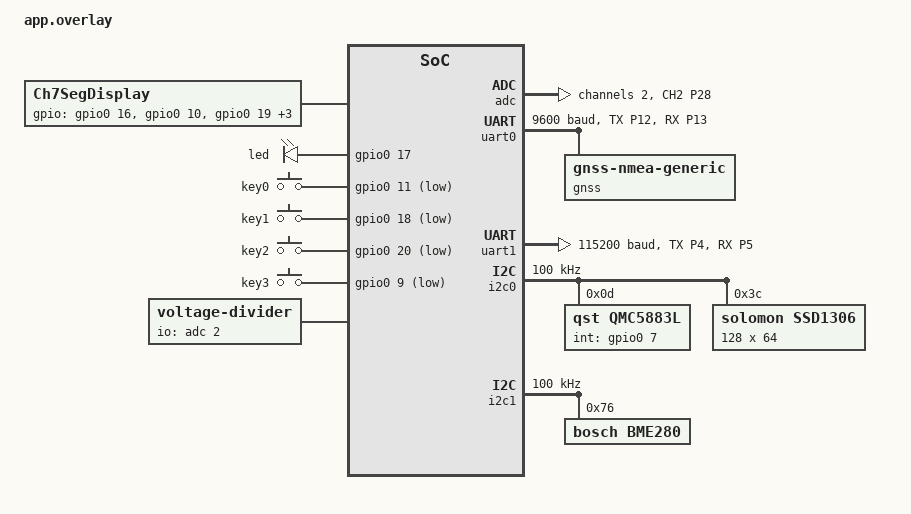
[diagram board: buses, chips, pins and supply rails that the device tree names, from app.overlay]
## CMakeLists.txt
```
cmake_minimum_required(VERSION 3.20.0)

set(OPENOCD "/usr/local/bin/openocd")
set(BOARD rpi_pico2/rp2350a/m33/w)

find_package(Zephyr)
project(project)

target_sources(app PRIVATE 
    src/main.c 
    src/battery.c
    src/altimeter.c
    src/compass.c
    src/keypad.c
    src/gnss.c
    src/display.c
    src/Ch7SegDisplay.c
)
```

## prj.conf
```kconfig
CONFIG_DEBUG_OPTIMIZATIONS=y
CONFIG_HEAP_MEM_POOL_SIZE=4096

CONFIG_FPU=y
CONFIG_LOG=y
CONFIG_EVENTS=y

CONFIG_LOG_BUFFER_SIZE=8192

CONFIG_I2C=y
CONFIG_ADC=y
CONFIG_GPIO=y
CONFIG_SENSOR=y
CONFIG_SERIAL=y

CONFIG_UART_INTERRUPT_DRIVEN=y

CONFIG_GNSS=y
CONFIG_GNSS_SATELLITES=y
CONFIG_GNSS_NMEA0183=y

CONFIG_DISPLAY=y
CONFIG_SSD1306=y
CONFIG_CHARACTER_FRAMEBUFFER=y
CONFIG_CHARACTER_FRAMEBUFFER_USE_DEFAULT_FONTS=y

CONFIG_THREAD_MONITOR=y
CONFIG_THREAD_ANALYZER=y
CONFIG_THREAD_NAME=y
CONFIG_INIT_STACKS=y
CONFIG_THREAD_STACK_INFO=y
CONFIG_SYS_HEAP_RUNTIME_STATS=y

CONFIG_BME280_TEMP_OVER_16X=y
CONFIG_BME280_PRESS_OVER_16X=y
CONFIG_BME280_HUMIDITY_OVER_16X=y
CONFIG_BME280_FILTER_16=y
```

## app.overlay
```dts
/ {
    chosen {
        zephyr,console = &uart1;
		zephyr,shell-uart = &uart1;
    };

    aliases {
        battery-led = &led;
        segment-display = &Ch7SegDisplay;
        battery-adc = &voltage;

        battery-key = &key0;
        left-key = &key1;
        right-key = &key2;
        compass-key = &key3;

        altimeter = &bme280;
        compass = &qmc5883l;
        gnss = &gnss;
        display = &ssd1306;
    };

    Ch7SegDisplay: Ch7SegDisplay {
        compatible = "Ch7SegDisplay";
        gpios = <&gpio0 16 GPIO_ACTIVE_HIGH>,
                <&gpio0 10 GPIO_ACTIVE_HIGH>,
                <&gpio0 19 GPIO_ACTIVE_HIGH>,
                <&gpio0 21 GPIO_ACTIVE_HIGH>,
                <&gpio0 8 GPIO_ACTIVE_HIGH>,
                <&gpio0 22 GPIO_ACTIVE_HIGH>;
    };

    leds: leds {
        compatible = "gpio-leds";

        led: led {
            gpios = <&gpio0 17 GPIO_ACTIVE_HIGH>;
        };
    };

    keys: keys {
        compatible = "gpio-keys";

        key0: key0 {
            gpios = <&gpio0 11 (GPIO_PULL_UP | GPIO_ACTIVE_LOW)>;
        };

        key1: key1 {
            gpios = <&gpio0 18 (GPIO_PULL_UP | GPIO_ACTIVE_LOW)>;
        };

        key2: key2 {
            gpios = <&gpio0 20 (GPIO_PULL_UP | GPIO_ACTIVE_LOW)>;
        };

        key3: key3 {
            gpios = <&gpio0 9 (GPIO_PULL_UP | GPIO_ACTIVE_LOW)>;
        };
    };

    voltage: voltage {
        compatible = "voltage-divider";
        io-channels = <&adc 2>;
        output-ohms = <100>;
        full-ohms = <570>;
    };
};

&pinctrl {
    uart0_pins: uart0_pins {
        group1 {
            pinmux = <UART0_TX_P12>;
        };

        group2 {
            pinmux = <UART0_RX_P13>;
            input-enable;
        };
    };

    uart1_pins: uart1_pins {
        group1 {
            pinmux = <UART1_TX_P4>;
        };

        group2 {
            pinmux = <UART1_RX_P5>;
            input-enable;
        };
    };

    i2c0_pins: i2c0_pins {
        group1 {
            pinmux = <I2C0_SDA_P0>;
            bias-pull-up;
            input-enable;
        };

        group2 {
            pinmux = <I2C0_SCL_P1>;
            bias-pull-up;
            input-enable;
        };
    };

    i2c1_pins: i2c1_pins {
        group1 {
            pinmux = <I2C1_SDA_P26>;
            bias-pull-up;
            input-enable;
        };

        group2 {
            pinmux = <I2C1_SCL_P27>;
            bias-pull-up;
            input-enable;
        };
    };

    adc2_pins: adc2_pins {
        group1 {
            pinmux = <ADC_CH2_P28>;
            bias-disable;
            input-enable;
        };
    };
};

&adc {
    status = "okay";

    pinctrl-0 = <&adc2_pins>;
    pinctrl-names = "default";

    #address-cells = <1>;
    #size-cells = <0>;

    adc2: channel@2 {
        reg = <2>;
        zephyr,gain = "ADC_GAIN_1";
        zephyr,reference = "ADC_REF_INTERNAL";
        zephyr,acquisition-time = <ADC_ACQ_TIME_DEFAULT>;
        zephyr,resolution = <12>;
    };
};

&uart0 {
    status = "okay";
    current-speed = <9600>;

    pinctrl-0 = <&uart0_pins>;
    pinctrl-names = "default";

    gnss: gnss-nmea-generic {
        compatible = "gnss-nmea-generic";
    };
};

&uart1 {
    status = "okay";
    current-speed = <115200>;

    pinctrl-0 = <&uart1_pins>;
    pinctrl-names = "default";
};

&i2c0 {
    status = "okay";
    clock-frequency = <100000>;

    pinctrl-0 = <&i2c0_pins>;
    pinctrl-names = "default";

    qmc5883l: qmc5883l@d { 
        compatible = "qst,qmc5883l";
        reg = <0x0d>;

        int-gpios = <&gpio0 7 GPIO_ACTIVE_HIGH>;
    };

    ssd1306: ssd1306@3c {
        compatible = "solomon,ssd1306";
        reg = <0x3c>;

        width = <128>;
        height = <64>;

        segment-offset = <0>;
        page-offset = <0>;
        display-offset = <0>;
        multiplex-ratio = <63>;
        prechargep = <0x22>;

        segment-remap;
        com-invdir;
    };
};

&i2c1 {
    status = "okay";
    clock-frequency = <100000>;

    pinctrl-0 = <&i2c1_pins>;
    pinctrl-names = "default";

    bme280: bme280@76 {
        compatible = "bosch,bme280";
        reg = <0x76>;
    };
};
```

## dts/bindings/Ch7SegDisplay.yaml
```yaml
description: Charlieplexing 7 Segment Display
compatible: "Ch7SegDisplay"
include: base.yaml

properties:
  gpios:
    type: phandle-array
    required: true
```

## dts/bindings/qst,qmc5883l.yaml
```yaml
description: QST QMC5883L
compatible: "qst,qmc5883l"
include: i2c-device.yaml

properties:
  int-gpios:
    type: phandle-array
    description: DRDY
```

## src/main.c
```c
#include "SystemStats.h"

#if PRINT_STATS == 1
#include <zephyr/kernel.h>

#if LOG_HEAP == 1
extern struct sys_heap _system_heap;

void print_heap(struct k_work *work) {
    struct sys_memory_stats stats;
    if (!sys_heap_runtime_stats_get(&_system_heap, &stats)) {
        printk("Heap: %zu/%zu bytes used (Max: %zu)\n\n", stats.allocated_bytes, stats.free_bytes + stats.allocated_bytes, stats.max_allocated_bytes);
    }
}

K_WORK_DEFINE(print_heap_work, print_heap);

void log_heap(struct k_timer *timer_id) {
    k_work_submit(&print_heap_work);
}

K_TIMER_DEFINE(log_heap_timer, log_heap, NULL);

#endif /* LOG_HEAP */

#if LOG_DEADLINE == 1
extern atomic_t segmentDisplayMissCount;
extern atomic_t altimeterMissCount;

atomic_t segmentDisplayMisses;
atomic_t altimeterMisses;

void print_deadline(struct k_work *work) {
    int64_t segmentDisplayMissesVal = atomic_get(&segmentDisplayMisses);
    int64_t altimeterMissesVal = atomic_get(&altimeterMisses);

    printk("Deadline misses in last 10 seconds: \n");
    printk(" segment display: %lld\n", segmentDisplayMissesVal);
    printk(" altimeter: %lld\n", altimeterMissesVal);
    printk("\n");
}

K_WORK_DEFINE(deadline_work, print_deadline);

void log_deadline(struct k_timer *timer_id) {
    atomic_set(&segmentDisplayMisses, atomic_get(&segmentDisplayMissCount));
    atomic_set(&altimeterMisses, atomic_get(&altimeterMissCount));

    atomic_set(&segmentDisplayMissCount, 0);
    atomic_set(&altimeterMissCount, 0);

    k_work_submit(&deadline_work);
}

K_TIMER_DEFINE(log_deadline_timer, log_deadline, NULL);

#endif /* LOG_DEADLINE */

#if LOG_LATENCY == 1
extern atomic_t segmentDisplayLatencyUs;
extern atomic_t altimeterLatencyUs;

atomic_t segmentDisplayMaxLatencyUs;
atomic_t altimeterMaxLatencyUs;

void print_latency(struct k_work *work) {
    int64_t segmentDisplayMaxLatencyUsVal = atomic_get(&segmentDisplayMaxLatencyUs);
    int64_t altimeterMaxLatencyUsVal = atomic_get(&altimeterMaxLatencyUs);

    printk("Max latency in last 10 seconds: \n");
    printk(" segment display: %lld us\n", segmentDisplayMaxLatencyUsVal);
    printk(" altimeter: %lld us\n", altimeterMaxLatencyUsVal);
    printk("\n");
}

K_WORK_DEFINE(latency_work, print_latency);

void log_latency(struct k_timer *timer_id) {
    atomic_set(&segmentDisplayMaxLatencyUs, atomic_get(&segmentDisplayLatencyUs));
    atomic_set(&altimeterMaxLatencyUs, atomic_get(&altimeterLatencyUs));

    atomic_set(&segmentDisplayLatencyUs, 0);
    atomic_set(&altimeterLatencyUs, 0);

    k_work_submit(&latency_work);
}

K_TIMER_DEFINE(log_latency_timer, log_latency, NULL);

#endif /* LOG_LATENCY */

#if LOG_JITTER == 1
extern atomic_t segmentDisplayJitterUs;
extern atomic_t altimeterJitterUs;

void print_jitter(struct k_work *work) {
    int64_t segmentDisplayJitterUsVal = atomic_get(&segmentDisplayJitterUs);
    int64_t altimeterJitterUsVal = atomic_get(&altimeterJitterUs);

    printk("Jitter: \n");
    printk(" segment display: %lld us\n", segmentDisplayJitterUsVal);
    printk(" altimeter: %lld us\n", altimeterJitterUsVal);
    printk("\n");
}

K_WORK_DEFINE(jitter_work, print_jitter);

void log_jitter(struct k_timer *timer_id) {
    k_work_submit(&jitter_work);
}

K_TIMER_DEFINE(log_jitter_timer, log_jitter, NULL);

#endif /* LOG_JITTER */

#if LOG_MEMORY == 1
#include <zephyr/debug/thread_analyzer.h>

void print_memory(struct k_work *work) {
    thread_analyzer_print(0);
    printk("\n");
}

K_WORK_DEFINE(memory_work, print_memory);

void log_memory(struct k_timer *timer_id) {
    k_work_submit(&memory_work);
}

K_TIMER_DEFINE(log_memory_timer, log_memory, NULL);

#endif /* LOG_MEMORY */

int main(void) {
    printk("Tick Rate: %d Hz\n\n", CONFIG_SYS_CLOCK_TICKS_PER_SEC);

    #if LOG_HEAP == 1
    k_timer_start(&log_heap_timer, K_MINUTES(1), K_MINUTES(1));
    #endif /* LOG_HEAP */

    #if LOG_MEMORY == 1
    k_timer_start(&log_memory_timer, K_MINUTES(1), K_MINUTES(1));
    #endif /* LOG_MEMORY */

    #if LOG_JITTER == 1
    k_timer_start(&log_jitter_timer, K_MINUTES(1), K_MINUTES(1));
    #endif /* LOG_JITTER */

    #if LOG_DEADLINE == 1
    k_timer_start(&log_deadline_timer, K_SECONDS(10), K_SECONDS(10));
    #endif /* LOG_DEADLINE */

    #if LOG_LATENCY == 1
    k_timer_start(&log_latency_timer, K_SECONDS(10), K_SECONDS(10));
    #endif /* LOG_LATENCY */

    return 0;
}

#else /* PRINT_STATS */

int main(void) {
    return 0;
}

#endif /* PRINT_STATS */
```

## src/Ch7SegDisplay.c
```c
#include "Ch7SegDisplay.h"
#include <zephyr/drivers/gpio.h>

#include "SystemStats.h"

static void segmentDisplayTask(void);

K_THREAD_DEFINE(segmentDisplayThread, 1024, segmentDisplayTask, NULL, NULL, NULL, 1, 0, 0);
K_MUTEX_DEFINE(segmentDisplayDataMutex);
K_SEM_DEFINE(segmentDisplaySem, 0, 1);

static volatile bool display = 0;
static volatile uint16_t val = 0;
static volatile uint8_t frm = 0;

int setSegmentDisplayOn(k_timeout_t timeout) {
    int ret = 0;
    if ((ret = k_mutex_lock(&segmentDisplayDataMutex, timeout))) {
        return ret;
    }

    display = 1;
    k_mutex_unlock(&segmentDisplayDataMutex);
    k_sem_give(&segmentDisplaySem);
    return 0;
}

int setSegmentDisplayOff(k_timeout_t timeout) {
    int ret = 0;
    if ((ret = k_mutex_lock(&segmentDisplayDataMutex, timeout))) {
        return ret;
    }

    display = 0;
    k_mutex_unlock(&segmentDisplayDataMutex);
    return 0;
}

int isSegmentDisplayOn(bool *val, k_timeout_t timeout) {
    int ret = 0;
    if ((ret = k_mutex_lock(&segmentDisplayDataMutex, timeout))) {
        return ret;
    }

    *val = display;
    k_mutex_unlock(&segmentDisplayDataMutex);
    return 0;
}

int setSegmentDisplayValue(uint16_t value, k_timeout_t timeout) {
    int ret = 0;
    if ((ret = k_mutex_lock(&segmentDisplayDataMutex, timeout))) {
        return ret;
    }
    
    val = value;
    k_mutex_unlock(&segmentDisplayDataMutex);
    return 0;
}

int setSegmentDisplayFormat(uint8_t format, k_timeout_t timeout) {
    int ret = 0;
    if ((ret = k_mutex_lock(&segmentDisplayDataMutex, timeout))) {
        return ret;
    }

    frm = format;
    k_mutex_unlock(&segmentDisplayDataMutex);
    return 0;
}

static const struct gpio_dt_spec displayPins[] = {
    DT_FOREACH_PROP_ELEM_SEP(DT_ALIAS(segment_display), gpios, GPIO_DT_SPEC_GET_BY_IDX, (,))
};

#define SEGMENT_TIME_US 500
#define SEGMENT_MISS_US 100

#define SEGMENT_NONE 24
#define NR_SEGMENTS 23

#define DIGIT_0_OFFSET 14
#define DIGIT_1_OFFSET 7
#define DIGIT_2_OFFSET 0

#define DOT_0_OFFSET 22
#define DOT_1_OFFSET 21

#define DIGIT_NONE 10

#define DOT_ON 1
#define DOT_OFF 0

static const struct segmentConfig {
    uint8_t high;
    uint8_t low;
} segmentMap[NR_SEGMENTS] = {
    {0, 1}, {0, 2}, {0, 3}, {0, 4}, {0, 5}, {1, 2}, {1, 3},
    {1, 0}, {2, 0}, {3, 0}, {4, 0}, {5, 0}, {1, 4}, {1, 5},
    {2, 1}, {3, 1}, {4, 1}, {5, 1}, {3, 2}, {4, 2}, {5, 2},
    {2, 3}, {2, 4}
};

static const uint8_t digitSegments[11] = {
    0b0111111, // 0
    0b0000110, // 1
    0b1011011, // 2
    0b1001111, // 3
    0b1100110, // 4
    0b1101101, // 5
    0b1111101, // 6
    0b0100111, // 7
    0b1111111, // 8
    0b1101111, // 9
    0b0000000
};

static inline void setSegment(uint8_t segment) {
    for (size_t i = 0; i < ARRAY_SIZE(displayPins); i++) {
        gpio_pin_configure_dt(&displayPins[i], GPIO_DISCONNECTED);
    }

    if (segment > NR_SEGMENTS) {
        return;
    }

    gpio_pin_configure_dt(&displayPins[segmentMap[segment].high], GPIO_OUTPUT_ACTIVE);
    gpio_pin_configure_dt(&displayPins[segmentMap[segment].low], GPIO_OUTPUT_INACTIVE);
}

static inline uint32_t toSegments(uint8_t d2, uint8_t s1, uint8_t d1, uint8_t s0, uint8_t d0) {
    return s0 << DOT_0_OFFSET | s1 << DOT_1_OFFSET | digitSegments[d0] << DIGIT_0_OFFSET | digitSegments[d1] << DIGIT_1_OFFSET | digitSegments[d2] << DIGIT_2_OFFSET;
}

static uint32_t getSegments(k_timeout_t timeout) {
    static uint32_t segments = 0;
    static uint8_t format = 0;
    static uint16_t value = 0;

    if (!k_mutex_lock(&segmentDisplayDataMutex, timeout)) {
        if (!display) {
            k_mutex_unlock(&segmentDisplayDataMutex);
            return 0;
        }

        if (value != val || format != frm) {
            value = val;
            format = frm;
        } else {
            k_mutex_unlock(&segmentDisplayDataMutex);
            return segments;
        }

        k_mutex_unlock(&segmentDisplayDataMutex);

    } else {
        return segments;
    }

    uint8_t d0 = value % 10;
    uint8_t d1 = (value / 10) % 10;
    uint8_t d2 = (value / 100) % 10;

    switch (format & 0b1100) {
        case DISPLAY_DIGIT_ALWAYS_NONE:
            d1 = (d1 || d2) ? d1 : DIGIT_NONE;
            /* no break */

        case DISPLAY_DIGIT_ALWAYS_MIDDLE:
            d2 = d2 ? d2 : DIGIT_NONE;
            /* no break */

        case DISPLAY_DIGIT_ALWAYS_ALL:
            break;
    }

    switch (format & 0b11) {
        case DISPLAY_DOT_NONE:
            segments = toSegments(d2, DOT_OFF, d1, DOT_OFF, d0);
            break;

        case DISPLAY_DOT_RIGHT:
            segments = toSegments(d2, DOT_OFF, d1, DOT_ON, d0);
            break;

        case DISPLAY_DOT_LEFT:
            segments = toSegments(d2, DOT_ON, d1, DOT_OFF, d0);
            break;

        case DISPLAY_DOT_BOTH:
            segments = toSegments(d2, DOT_ON, d1, DOT_ON, d0);
            break;
    }

    return segments;
}

atomic_t segmentDisplayMissCount = ATOMIC_INIT(0);
atomic_t segmentDisplayLatencyUs = ATOMIC_INIT(0);
atomic_t segmentDisplayJitterUs = ATOMIC_INIT(0);

static void segmentDisplayTask(void) {
    k_thread_name_set(segmentDisplayThread, "segmentDisplay");

    for (size_t i = 0; i < ARRAY_SIZE(displayPins); i++) {
        if (gpio_is_ready_dt(&displayPins[i])) {
            gpio_pin_configure_dt(&displayPins[i], GPIO_INPUT); 
        } else {
            printk("Display GPIO %zu not ready!\n", i);
            k_panic();
        }
    }

    int64_t interval = k_us_to_ticks_near64(SEGMENT_TIME_US);
    int64_t next_wake_time = 0;
    uint32_t segments = 0;

    #if PRINT_STATS == 1
    int64_t expected_wake_time = 0;
    uint64_t drift_current_us = 0;
    uint64_t drift_min_us = INT64_MAX;
    uint64_t drift_max_us = 0;
    uint64_t drift_us = 0;
    #endif /* PRINT_STATS */

    while (1) {
        if (!segments) {
            setSegment(SEGMENT_NONE);
            k_sem_take(&segmentDisplaySem, K_FOREVER);
            segments = getSegments(K_FOREVER);
            next_wake_time = k_uptime_ticks() + interval;
        } else {
            for (uint8_t i = 0; i < NR_SEGMENTS; i++) {
                segments = getSegments(K_TIMEOUT_ABS_TICKS(next_wake_time));

                if (segments & BIT(i)) {
                    setSegment(i);
                } else {
                    setSegment(SEGMENT_NONE);
                }

                #if PRINT_STATS == 1
                drift_min_us = MIN(drift_min_us, drift_current_us);
                drift_max_us = MAX(drift_max_us, drift_current_us);
                drift_us = MAX(atomic_get(&segmentDisplayLatencyUs), drift_current_us);

                if (drift_current_us > SEGMENT_MISS_US) {
                    atomic_inc(&segmentDisplayMissCount);
                }

                atomic_set(&segmentDisplayLatencyUs, drift_us);
                atomic_set(&segmentDisplayJitterUs, drift_max_us - drift_min_us);

                expected_wake_time = next_wake_time;

                #endif /* PRINT_STATS */

                k_sleep(K_TIMEOUT_ABS_TICKS(next_wake_time));

                #if PRINT_STATS == 1
                drift_current_us = k_ticks_to_us_near64(k_uptime_ticks() - expected_wake_time);
                #endif /* PRINT_STATS */
                
                next_wake_time += interval;
            }
        } 
    }
}
```

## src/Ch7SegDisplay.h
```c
#ifndef CH7SEGDISPLAY_H
#define CH7SEGDISPLAY_H

#include <zephyr/kernel.h>

#define DISPLAY_FORMAT_NONE 0b0000

#define DISPLAY_DOT_NONE  0b0000
#define DISPLAY_DOT_RIGHT 0b0001
#define DISPLAY_DOT_LEFT  0b0010
#define DISPLAY_DOT_BOTH  0b0011

#define DISPLAY_DIGIT_ALWAYS_NONE 0b0000
#define DISPLAY_DIGIT_ALWAYS_MIDDLE 0b0100
#define DISPLAY_DIGIT_ALWAYS_ALL 0b1000


int setSegmentDisplayOn(k_timeout_t timeout);
int setSegmentDisplayOff(k_timeout_t timeout);
int isSegmentDisplayOn(bool *val, k_timeout_t timeout);
int setSegmentDisplayValue(uint16_t value, k_timeout_t timeout);
int setSegmentDisplayFormat(uint8_t format, k_timeout_t timeout);

#endif /* CH7SEGDISPLAY_H */
```

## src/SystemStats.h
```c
#ifndef SYSTEMSTATS_H
#define SYSTEMSTATS_H

#define PRINT_STATS 1

#define LOG_HEAP 1
#define LOG_MEMORY 1
#define LOG_DEADLINE 1
#define LOG_JITTER 1
#define LOG_LATENCY 1

#define PRINT_CALIBRATION_VALUES 0

#endif /* SYSTEMSTATS_H */
```

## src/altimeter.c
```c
#include <zephyr/drivers/sensor.h>
#include <math.h>
#include "altimeter.h"

#include "SystemStats.h"

static void altimeterTask(void);

#define ALTIMETER_UPDATE_INTERVAL K_MSEC(200)
#define ALTIMETER_MISS_US 100

K_THREAD_DEFINE(altimeterThread, 1024, altimeterTask, NULL, NULL, NULL, 7, 0, 0);
K_MUTEX_DEFINE(returnAltimeterMutex);

static altimeter_data_t returnData;

static struct sensor_value tempOffset = {
    .val1 = -2,
    .val2 = -500000,
};

int altimeterGetData(altimeter_data_t *data, k_timeout_t timeout) {
    int ret = 0;
    if ((ret = k_mutex_lock(&returnAltimeterMutex, timeout))) {
        return ret;
    }

    *data = returnData;

    k_mutex_unlock(&returnAltimeterMutex);
    return 0;
}

static inline void calculateAltitude(const struct sensor_value *pressure, struct sensor_value *altitude) {
    float pressure_kPa = pressure->val1 + pressure->val2 / 1000000.0f;
    float seaLevelPressure_kPa = 101.325f;

    float altitude_m = 44330.0 * (1.0 - pow(pressure_kPa / seaLevelPressure_kPa, 1.0f / 5.255f));

    altitude->val1 = (int32_t)altitude_m;
    altitude->val2 = (int32_t)((altitude_m - altitude->val1) * 1000000);
}

static inline void adjustAltitude(const struct sensor_value *altitude, const struct sensor_value *temp, struct sensor_value *adjustedAltitude) {
    float temp_C = temp->val1 + temp->val2 / 1000000.0f;
    float altitude_m = altitude->val1 + altitude->val2 / 1000000.0f;

    altitude_m *= (temp_C + 273.15f) / 288.15f;

    adjustedAltitude->val1 = (int32_t)altitude_m;
    adjustedAltitude->val2 = (int32_t)((altitude_m - adjustedAltitude->val1) * 1000000);
}

static inline void calculateAbsoluteHumidity(const struct sensor_value *temp, const struct sensor_value *humidity, struct sensor_value *absHumidity) {
    float temp_C = temp->val1 + temp->val2 / 1000000.0f;
    float humidity_pct = humidity->val1 + humidity->val2 / 1000000.0f;

    float abs_hum_g_m3 = (13.2447f * expf((17.67f * temp_C) / (temp_C + 243.5f)) * humidity_pct) / (temp_C + 273.15f);

    absHumidity->val1 = (int32_t)abs_hum_g_m3;
    absHumidity->val2 = (int32_t)((abs_hum_g_m3 - absHumidity->val1) * 1000000.0f);
}

atomic_t altimeterMissCount = ATOMIC_INIT(0);
atomic_t altimeterLatencyUs = ATOMIC_INIT(0);
atomic_t altimeterJitterUs = ATOMIC_INIT(0);

static void altimeterTask(void) {
    k_thread_name_set(altimeterThread, "altimeter");

    const struct device *altimeter = DEVICE_DT_GET(DT_ALIAS(altimeter));

    if (!device_is_ready(altimeter)) {
        printk("Altimeter not ready!\n");
        k_panic();
    }

    int64_t interval = ALTIMETER_UPDATE_INTERVAL.ticks;
    int64_t next_wake_time = 0;

    #if PRINT_STATS == 1
    int64_t expected_wake_time = 0;
    uint64_t drift_current_us = 0;
    uint64_t drift_min_us = INT64_MAX;
    uint64_t drift_max_us = 0;
    uint64_t drift_us = 0;
    #endif /* PRINT_STATS */

    struct sensor_value pressure;
    struct sensor_value temp;
    struct sensor_value humidity;
    struct sensor_value absHumidity;
    struct sensor_value altitude;
    struct sensor_value adjAltitude;

    next_wake_time = k_uptime_ticks() + interval;

    while (1) {
        if (sensor_sample_fetch(altimeter) == 0) {
            sensor_channel_get(altimeter, SENSOR_CHAN_PRESS, &pressure);
            sensor_channel_get(altimeter, SENSOR_CHAN_AMBIENT_TEMP, &temp);
            sensor_channel_get(altimeter, SENSOR_CHAN_HUMIDITY, &humidity);

            temp.val1 += tempOffset.val1;
            temp.val2 += tempOffset.val2;
            
            calculateAltitude(&pressure, &altitude);
            adjustAltitude(&altitude, &temp, &adjAltitude);
            calculateAbsoluteHumidity(&temp, &humidity, &absHumidity);

            altimeter_data_t newReturnData = {
                .altitude = altitude.val1,
                .adjAltitude = adjAltitude.val1,
                .environment = {
                    .pressure = (pressure.val1 + (pressure.val2 / 1000000.0f)) * 1000.0f,
                    .temperature = temp.val1 + (temp.val2 / 1000000.0f),
                    .humidity = humidity.val1 + (humidity.val2 / 1000000.0f),
                    .absHumidity = absHumidity.val1 + (absHumidity.val2 / 1000000.0f),
                },
            };

            if (k_mutex_lock(&returnAltimeterMutex, K_TIMEOUT_ABS_TICKS(next_wake_time)) == 0) {
                returnData = newReturnData;
                k_mutex_unlock(&returnAltimeterMutex);
            }
        }

        #if PRINT_STATS == 1
        drift_min_us = MIN(drift_min_us, drift_current_us);
        drift_max_us = MAX(drift_max_us, drift_current_us);
        drift_us = MAX(atomic_get(&altimeterLatencyUs), drift_current_us);

        if (drift_current_us > ALTIMETER_MISS_US) {
            atomic_inc(&altimeterMissCount);
        }

        atomic_set(&altimeterLatencyUs, drift_us);
        atomic_set(&altimeterJitterUs, drift_max_us - drift_min_us);

        expected_wake_time = next_wake_time;

        #endif /* PRINT_STATS */

        k_sleep(K_TIMEOUT_ABS_TICKS(next_wake_time));

        #if PRINT_STATS == 1
        drift_current_us = k_ticks_to_us_near64(k_uptime_ticks() - expected_wake_time);
        #endif /* PRINT_STATS */

        next_wake_time += interval;
    }
}
```

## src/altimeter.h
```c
#ifndef ALTIMETER_H
#define ALTIMETER_H

#include <zephyr/kernel.h>
#include "data.h"

int altimeterGetData(altimeter_data_t *data, k_timeout_t timeout);

#endif /* ALTIMETER_H */
```

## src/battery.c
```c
#include <zephyr/kernel.h>
#include <zephyr/drivers/gpio.h>
#include <zephyr/drivers/sensor.h>
#include <zephyr/init.h>
#include <errno.h>
#include "keypad.h"
#include "Ch7SegDisplay.h"

static void batteryTask(void);

K_THREAD_DEFINE(batteryThread, 1024, batteryTask, NULL, NULL, NULL, 10, 0, 0);

/* Ni-Mh battery HF9 (min 7.0 V) */
#define LOW_BATTERY_THRESHOLD_VOLTS_1 8
#define LOW_BATTERY_THRESHOLD_VOLTS_2 0

#define BATTERY_UPDATE_INTERVAL K_SECONDS(1)

static void batteryTask(void) {
    k_thread_name_set(batteryThread, "battery");

    const struct gpio_dt_spec batteryLed = GPIO_DT_SPEC_GET(DT_ALIAS(battery_led), gpios);
    const struct device *batteryADC = DEVICE_DT_GET(DT_ALIAS(battery_adc));

    if (!gpio_is_ready_dt(&batteryLed)) {
        printk("Battery LED GPIO not ready!\n");
        k_panic();
    }

    if (!device_is_ready(batteryADC)) {
        printk("Battery ADC not ready!\n");
        k_panic();
    }

    gpio_pin_configure_dt(&batteryLed, GPIO_OUTPUT_INACTIVE);

    struct sensor_value voltage;

    bool printValues = false;
    bool displayOn = false;

    while (1) {
        if (sensor_sample_fetch(batteryADC) == 0) {
            sensor_channel_get(batteryADC, SENSOR_CHAN_VOLTAGE, &voltage);

            if (voltage.val1 < LOW_BATTERY_THRESHOLD_VOLTS_1 || (voltage.val1 == LOW_BATTERY_THRESHOLD_VOLTS_1 && voltage.val2 <= LOW_BATTERY_THRESHOLD_VOLTS_2)) {
                gpio_pin_set_dt(&batteryLed, 1);
            } else {
                gpio_pin_set_dt(&batteryLed, 0);
            }
        }

        uint32_t events = k_event_wait(&batteryKeyEvent, (KEY_EVT_BATTERY_ON | KEY_EVT_BATTERY_OFF), false, BATTERY_UPDATE_INTERVAL);
        k_event_set(&batteryKeyEvent, 0);

        // Check if display is used by a different task
        isSegmentDisplayOn(&displayOn, K_FOREVER);
        if (!printValues && displayOn) {
            continue;
        }

        if (events & KEY_EVT_BATTERY_OFF) {
            setSegmentDisplayValue(0, K_FOREVER);
            setSegmentDisplayFormat(0, K_FOREVER);
            setSegmentDisplayOff(K_FOREVER);
            printValues = false;
        } else if (events & KEY_EVT_BATTERY_ON) {
            setSegmentDisplayFormat(DISPLAY_DIGIT_ALWAYS_MIDDLE | DISPLAY_DOT_RIGHT, K_FOREVER);
            setSegmentDisplayOn(K_FOREVER);
            printValues = true;
        }

        if (printValues) {
            setSegmentDisplayValue(voltage.val1 % 100 * 10 + voltage.val2 / 100000, K_FOREVER);
        }
    }
}
```

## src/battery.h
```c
#ifndef BATTERY_H
#define BATTERY_H



#endif /* BATTERY_H */
```

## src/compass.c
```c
#include <zephyr/kernel.h>
#include <zephyr/drivers/gpio.h>
#include <zephyr/drivers/i2c.h>
#include <math.h>
#include "keypad.h"
#include "Ch7SegDisplay.h"
#include "SystemStats.h"

static void compassTask(void);
static void qmc5883lTask(void);

#define CALIBRATION_SECONDS 30
#define RESET_SECONDS 5

K_THREAD_DEFINE(compassThread, 1024, compassTask, NULL, NULL, NULL, 7, 0, 0);
K_THREAD_DEFINE(qmc5883lThread, 1024, qmc5883lTask, NULL, NULL, NULL, 7, 0, 0);
K_SEM_DEFINE(qmc5883lSem, 0, 1);
K_SEM_DEFINE(qmc5883lCalibrate, 0, 1);
K_SEM_DEFINE(qmc5883lCalibrateReset, 0, 1);
K_SEM_DEFINE(qmc5883lCalibrateCancel, 0, 1);

#define COMPASS_UPDATE_INTERVAL K_MSEC(250)

static atomic_t whole_heading = ATOMIC_INIT(0);

static struct {
    struct {
        float x, y;
    } offset, scale;
} calibration, calibrationDefault = {
    .offset = {201.5f, -946.5f},
    .scale = {1.01f, 0.99f}
};

static void compassTask(void) {
    k_thread_name_set(compassThread, "compass");

    bool displayOn = false;

    while (1) {
        uint32_t events = k_event_wait(&compassKeyEvent, (KEY_EVT_COMPASS | KEY_EVT_COMPASS_CALIBRATE | KEY_EVT_COMPASS_RESET_START), false, K_FOREVER);
        k_event_set(&compassKeyEvent, 0);

        // Check if display is used by a different task
        isSegmentDisplayOn(&displayOn, K_FOREVER);
        if (displayOn) {
            continue;
        }

        if (events & KEY_EVT_COMPASS) {
            setSegmentDisplayFormat(DISPLAY_DIGIT_ALWAYS_ALL, K_FOREVER);
            setSegmentDisplayOn(K_FOREVER);

            while (1) {
                setSegmentDisplayValue(atomic_get(&whole_heading), K_FOREVER);

                uint32_t event_end = k_event_wait(&compassKeyEvent, (KEY_EVT_COMPASS), false, COMPASS_UPDATE_INTERVAL);
                k_event_set(&compassKeyEvent, 0);
                if (event_end & KEY_EVT_COMPASS) {
                    break;
                }
            }

            setSegmentDisplayValue(0, K_FOREVER);
            setSegmentDisplayFormat(0, K_FOREVER);
            setSegmentDisplayOff(K_FOREVER);
        } else if (events & KEY_EVT_COMPASS_CALIBRATE) {
            k_sem_give(&qmc5883lCalibrate);
            setSegmentDisplayFormat(DISPLAY_FORMAT_NONE, K_FOREVER);
            setSegmentDisplayOn(K_FOREVER);

            uint16_t i;
            for (i = CALIBRATION_SECONDS; i > 0; i--) {
                setSegmentDisplayValue(i, K_FOREVER);
                uint32_t event_end = k_event_wait(&compassKeyEvent, (KEY_EVT_COMPASS_CALIBRATE), false, K_SECONDS(1));
                k_event_set(&compassKeyEvent, 0);
                if (event_end & KEY_EVT_COMPASS_CALIBRATE) {
                    k_sem_give(&qmc5883lCalibrateCancel);
                    break;
                }
            }

            if (i == 0) {
                k_sem_give(&qmc5883lCalibrate);
            }

            setSegmentDisplayValue(0, K_FOREVER);
            setSegmentDisplayFormat(0, K_FOREVER);
            setSegmentDisplayOff(K_FOREVER);

        } else if (events & KEY_EVT_COMPASS_RESET_START) {
            setSegmentDisplayFormat(DISPLAY_FORMAT_NONE, K_FOREVER);
            setSegmentDisplayOn(K_FOREVER);

            uint16_t i;
            for (i = RESET_SECONDS; i > 0; i--) {
                setSegmentDisplayValue(i, K_FOREVER);
                uint32_t event_end = k_event_wait(&compassKeyEvent, (KEY_EVT_COMPASS_RESET_STOP), false, K_SECONDS(1));
                k_event_set(&compassKeyEvent, 0);
                if (event_end & KEY_EVT_COMPASS_RESET_STOP) {
                    break;
                }
            }

            if (i == 0) {
                setSegmentDisplayFormat(DISPLAY_DIGIT_ALWAYS_ALL, K_FOREVER);
                setSegmentDisplayValue(0, K_FOREVER);

                uint32_t event_end = k_event_wait(&compassKeyEvent, (KEY_EVT_COMPASS_RESET_STOP), false, K_FOREVER);
                k_event_set(&compassKeyEvent, 0);
                if (event_end & KEY_EVT_COMPASS_RESET_STOP) {
                    k_sem_give(&qmc5883lCalibrateReset);
                }
            }

            setSegmentDisplayValue(0, K_FOREVER);
            setSegmentDisplayFormat(0, K_FOREVER);
            setSegmentDisplayOff(K_FOREVER);
        }
    }
}

static struct gpio_callback interruptPinCbData;

void interruptPinCallback(const struct device *dev, struct gpio_callback *cb, uint32_t pins) {
    k_sem_give(&qmc5883lSem);
}

static void qmc5883lTask(void) {
    k_thread_name_set(qmc5883lThread, "qmc5883l");

    const struct gpio_dt_spec interruptPin = GPIO_DT_SPEC_GET(DT_ALIAS(compass), int_gpios);
    const struct i2c_dt_spec qmc5883l = I2C_DT_SPEC_GET(DT_ALIAS(compass));

    if (!gpio_is_ready_dt(&interruptPin)) {
        printk("Interrupt GPIO not ready!\n");
        k_panic();
    }

    if (!i2c_is_ready_dt(&qmc5883l)) {
        printk("QMC5883L I2C not ready!\n");
        k_panic();
    }

    gpio_pin_configure_dt(&interruptPin, GPIO_INPUT);
    gpio_pin_interrupt_configure_dt(&interruptPin, GPIO_INT_EDGE_TO_ACTIVE);
    gpio_init_callback(&interruptPinCbData, interruptPinCallback, BIT(interruptPin.pin));
    gpio_add_callback(interruptPin.port, &interruptPinCbData);

    i2c_reg_write_byte_dt(&qmc5883l, 0x0a, 0x80);
    i2c_reg_write_byte_dt(&qmc5883l, 0x0b, 0x01);
    i2c_reg_write_byte_dt(&qmc5883l, 0x09, 0x01);

    uint8_t buffer[6];

    calibration = calibrationDefault;

    while (1) {
        if (k_sem_take(&qmc5883lCalibrateReset, K_NO_WAIT) == 0) {
            #if PRINT_CALIBRATION_VALUES == 1
            printk("Old calibration: offset=(%f, %f) scale=(%f, %f)\n", (double)calibration.offset.x, (double)calibration.offset.y, (double)calibration.scale.x, (double)calibration.scale.y);
            #endif
            calibration = calibrationDefault;
        }

        if (k_sem_take(&qmc5883lCalibrate, K_NO_WAIT) == 0) {
            int16_t min_x = 32767, max_x = -32768;
            int16_t min_y = 32767, max_y = -32768;
            
            bool calibrate;

            while (true) {
                k_sem_take(&qmc5883lSem, K_FOREVER);
                
                if (i2c_burst_read_dt(&qmc5883l, 0x00, buffer, 6) == 0) {
                    int16_t temp_x = (int16_t)((uint16_t)buffer[0] | ((uint16_t)buffer[1] << 8));
                    int16_t temp_y = (int16_t)((uint16_t)buffer[2] | ((uint16_t)buffer[3] << 8));

                    if (temp_x < min_x) {
                        min_x = temp_x;
                    }

                    if (temp_x > max_x) {
                        max_x = temp_x;
                    }

                    if (temp_y < min_y) {
                        min_y = temp_y;
                    }

                    if (temp_y > max_y) {
                        max_y = temp_y;
                    }
                }

                if (k_sem_take(&qmc5883lCalibrate, K_NO_WAIT) == 0) {
                    calibrate = true;
                    break;
                }

                if (k_sem_take(&qmc5883lCalibrateCancel, K_NO_WAIT) == 0) {
                    calibrate = false;
                    break;
                }
            }

            if (calibrate) {
                calibration.offset.x = (max_x + min_x) / 2.0f;
                calibration.offset.y = (max_y + min_y) / 2.0f;
                
                float xDelta = (max_x - min_x) / 2.0f;
                float yDelta = (max_y - min_y) / 2.0f;
                float avgDelta = (xDelta + yDelta) / 2.0f;
                
                if (xDelta != 0) {
                    calibration.scale.x = avgDelta / xDelta;
                }

                if (yDelta != 0) {
                    calibration.scale.y = avgDelta / yDelta;
                }
            }
        }

        k_sem_take(&qmc5883lSem, K_FOREVER);
        if (i2c_burst_read_dt(&qmc5883l, 0x00, buffer, 6) == 0) {
            int16_t x = (int16_t)((uint16_t)buffer[0] | ((uint16_t)buffer[1] << 8));
            int16_t y = (int16_t)((uint16_t)buffer[2] | ((uint16_t)buffer[3] << 8));

            float xCalibrated = ((float)x - calibration.offset.x) * calibration.scale.x;
            float yCalibrated = ((float)y - calibration.offset.y) * calibration.scale.y;

            // Y Axis N, X Axis E, Z Axis UP
            float heading_rad = atan2f(-xCalibrated, yCalibrated);
            float heading_deg = heading_rad * (180.0f / 3.14159265f);

            if (heading_deg < 0.0f) {
                heading_deg += 360.0f;
            }

            atomic_set(&whole_heading, (int)heading_deg);
        }
    }
}
```

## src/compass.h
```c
#ifndef COMPASS_H
#define COMPASS_H



#endif /* COMPASS_H */
```

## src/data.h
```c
#ifndef DATA_H
#define DATA_H

#include <stdint.h>

typedef struct {
    uint8_t hour;
    uint8_t minute;
    uint8_t second;
} time_t; // UTC

typedef struct {
    uint8_t day;
    uint8_t month;
    uint8_t year; // last two digits of the year
} date_t;

typedef struct {
    time_t time;
    date_t date;
} datetime_t;

typedef struct {
    float latitude;
    float longitude;
} position_t; // º

typedef int32_t altitude_t;

typedef struct {
    float temperature; // ºC
    float pressure; // Pa
    float humidity; // %
    float absHumidity; // g/m³
} environment_t;

typedef uint16_t heading_t; // º

typedef float speed_t; // m/s

typedef float battery_t; // V

typedef struct {
    char quality[10]; 
    char fixStatus[10]; 
    uint8_t satellites;
} gnss_t;

typedef struct {
    datetime_t datetime;
    position_t position;
    altitude_t altitude;
    heading_t heading;
    speed_t speed;
    gnss_t gnss;
} gnss_data_t;

typedef struct {
    altitude_t altitude;
    altitude_t adjAltitude;
    environment_t environment;
} altimeter_data_t;

#endif /* DATA_H */
```

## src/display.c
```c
#include <zephyr/kernel.h>
#include <zephyr/device.h>
#include <zephyr/drivers/display.h>
#include <zephyr/display/cfb.h>
#include <stdio.h>
#include "keypad.h"
#include "data.h"

#include "gnss.h"
#include "altimeter.h"

static void displayTask(void);

#define DISPLAY_UPDATE_INTERVAL K_MSEC(100)

K_THREAD_DEFINE(displayThread, 1024, displayTask, NULL, NULL, NULL, 5, 0, 0);

struct page {
    char title[13];
    void (*action)(struct page *page);
    void (*render)(struct page *page);
    uint8_t state;
};

void renderTimePage(struct page *page);
void renderDatePage(struct page *page);
void renderPositionPage(struct page *page);
void renderAltitudePage(struct page *page);
void renderEnvironmentPage(struct page *page);
void renderDirectionPage(struct page *page);
void renderGnssPage(struct page *page);

void actionPageTogState(struct page *page);
void actionPageIncState(struct page *page);

struct page pages[7] = {
    {
        .title = "Time UTC",
        .render = renderTimePage,
    }, {
        .title = "Date",
        .render = renderDatePage,
    }, {
        .title = "Position",
        .render = renderPositionPage,
        .action = actionPageIncState,
    }, {
        .title = "Altitude",
        .render = renderAltitudePage,
        .action = actionPageIncState,
    }, {
        .title = "Environment",
        .render = renderEnvironmentPage,
        .action = actionPageTogState,
    }, {
        .title = "Direction",
        .render = renderDirectionPage,
    }, {
        .title = "GNSS status",
        .render = renderGnssPage,
    }
};

void fetchData();

static void displayTask(void) {
    k_thread_name_set(displayThread, "display");

    const struct device *display = DEVICE_DT_GET(DT_ALIAS(display));

    if (!device_is_ready(display)) {
        printk("Display not ready!\n");
        k_panic();
    }

    if (cfb_framebuffer_init(display)) {
        printk("CFB initialization failed!\n");
        k_panic();
    }

    if (cfb_framebuffer_clear(display, true)) {
        printk("Failed to clear framebuffer\n");
        k_panic();
    }

    if (cfb_framebuffer_set_font(display, 0)) {
        printk("Failed to set font\n");
        k_panic();
    }

    display_blanking_on(display);

    struct page *currentPage = &pages[0];
    bool displayOn = false;

    while (1) {
        uint32_t events = k_event_wait(&navigationEvent, (KEY_EVT_NAVIGATION_POWER | KEY_EVT_NAVIGATION_LEFT | KEY_EVT_NAVIGATION_RIGHT | KEY_EVT_NAVIGATION_SELECT), false, displayOn ? DISPLAY_UPDATE_INTERVAL : K_FOREVER);
        k_event_set(&navigationEvent, 0);

        if (displayOn == false) {
            if (events & KEY_EVT_NAVIGATION_POWER) {
                display_blanking_off(display);
                displayOn = true;
            } else {
                continue;
            }
        } else if (events) {
            if (events & KEY_EVT_NAVIGATION_POWER) {
                cfb_framebuffer_clear(display, true);
                display_blanking_on(display);
                displayOn = false;
                continue;
            }
            
            if (events & KEY_EVT_NAVIGATION_RIGHT) {
                int currentPageIndex = currentPage - pages;
                currentPageIndex = (currentPageIndex + 1) % ARRAY_SIZE(pages);
                currentPage = &pages[currentPageIndex];
            } else if (events & KEY_EVT_NAVIGATION_LEFT) {
                int currentPageIndex = currentPage - pages;
                currentPageIndex = (currentPageIndex - 1 + ARRAY_SIZE(pages)) % ARRAY_SIZE(pages);
                currentPage = &pages[currentPageIndex];
            } else if (events & KEY_EVT_NAVIGATION_SELECT) {
                if (currentPage->action) {
                    currentPage->action(currentPage);
                }
            }
        }

        fetchData();

        cfb_framebuffer_clear(display, false);
        if (currentPage) {
            cfb_draw_text(display, currentPage->title, 0, 0);

            if (currentPage->render) {
                currentPage->render(currentPage);
            }

            cfb_framebuffer_finalize(display);
        }
    }
}

static gnss_data_t gnssData;
static altimeter_data_t altimeterData;

void fetchData() {
    gnssGetData(&gnssData, K_NO_WAIT);
    altimeterGetData(&altimeterData, K_NO_WAIT);
}

void actionPageTogState(struct page *page) {
    page->state = !page->state;
}

void actionPageIncState(struct page *page) {
    page->state++;
    page->state %= 3;
}

void renderTimePage(struct page *page) {
    char buffer[32];
    snprintf(buffer, sizeof(buffer), "%02d:%02d:%02d", gnssData.datetime.time.hour, gnssData.datetime.time.minute, gnssData.datetime.time.second);
    cfb_draw_text(DEVICE_DT_GET(DT_ALIAS(display)), buffer, 10, 30);
}

void renderDatePage(struct page *page) {
    char buffer[32];
    snprintf(buffer, sizeof(buffer), "%02d/%02d/%02d", gnssData.datetime.date.day, gnssData.datetime.date.month, gnssData.datetime.date.year);
    cfb_draw_text(DEVICE_DT_GET(DT_ALIAS(display)), buffer, 10, 30);
}

void renderPositionPage(struct page *page) {
    char buffer[32];

    switch (page->state) {
        case 0:

            {
                uint8_t hLat = gnssData.position.latitude >= 0 ? 'N' : 'S';
                uint8_t hLon = gnssData.position.longitude >= 0 ? 'E' : 'W';

                float absLat = gnssData.position.latitude >= 0 ? gnssData.position.latitude : -gnssData.position.latitude;
                float absLon = gnssData.position.longitude >= 0 ? gnssData.position.longitude : -gnssData.position.longitude;

                uint8_t latDeg = (uint8_t)absLat;
                uint8_t latMin = (uint8_t)((absLat - latDeg) * 60);
                uint8_t latSec = (uint8_t)(((absLat - latDeg) * 60 - latMin) * 60 + 0.5f);

                if (latSec == 60) {
                    latSec = 0;
                    latMin++;
                    if (latMin == 60) {
                        latMin = 0;
                        latDeg++;
                    }
                }

                uint8_t lonDeg = (uint8_t)absLon;
                uint8_t lonMin = (uint8_t)((absLon - lonDeg) * 60);
                uint8_t lonSec = (uint8_t)(((absLon - lonDeg) * 60 - lonMin) * 60 + 0.5f);

                if (lonSec == 60) {
                    lonSec = 0;
                    lonMin++;
                    if (lonMin == 60) {
                        lonMin = 0;
                        lonDeg++;
                    }
                }

                snprintf(buffer, sizeof(buffer), "   o");
                cfb_draw_text(DEVICE_DT_GET(DT_ALIAS(display)), buffer, 5, 18);
                snprintf(buffer, sizeof(buffer), "%3d %02d'%02d\" %c", latDeg, latMin, latSec, hLat);
                cfb_draw_text(DEVICE_DT_GET(DT_ALIAS(display)), buffer, 5, 23);
                snprintf(buffer, sizeof(buffer), "   o");
                cfb_draw_text(DEVICE_DT_GET(DT_ALIAS(display)), buffer, 5, 32);
                snprintf(buffer, sizeof(buffer), "%3d %02d'%02d\" %c", lonDeg, lonMin, lonSec, hLon);
                cfb_draw_text(DEVICE_DT_GET(DT_ALIAS(display)), buffer, 5, 37);
            }

            break;

        case 1:

            {
                uint8_t hLat = gnssData.position.latitude >= 0 ? 'N' : 'S';
                uint8_t hLon = gnssData.position.longitude >= 0 ? 'E' : 'W';

                float absLat = gnssData.position.latitude >= 0 ? gnssData.position.latitude : -gnssData.position.latitude;
                float absLon = gnssData.position.longitude >= 0 ? gnssData.position.longitude : -gnssData.position.longitude;

                uint8_t latDeg = (uint8_t)absLat;
                float latMin = (float)((absLat - latDeg) * 60);

                uint8_t lonDeg = (uint8_t)absLon;
                float lonMin = (float)((absLon - lonDeg) * 60);

                snprintf(buffer, sizeof(buffer), "   o");
                cfb_draw_text(DEVICE_DT_GET(DT_ALIAS(display)), buffer, 5, 18);
                snprintf(buffer, sizeof(buffer), "%3d %05.2f' %c", latDeg, (double)latMin, hLat);
                cfb_draw_text(DEVICE_DT_GET(DT_ALIAS(display)), buffer, 5, 23);
                snprintf(buffer, sizeof(buffer), "   o");
                cfb_draw_text(DEVICE_DT_GET(DT_ALIAS(display)), buffer, 5, 32);
                snprintf(buffer, sizeof(buffer), "%3d %05.2f' %c", lonDeg, (double)lonMin, hLon);
                cfb_draw_text(DEVICE_DT_GET(DT_ALIAS(display)), buffer, 5, 37);
            }

            break;

        case 2:
            snprintf(buffer, sizeof(buffer), "Lt %8.3f", (double)gnssData.position.latitude);
            cfb_draw_text(DEVICE_DT_GET(DT_ALIAS(display)), buffer, 5, 23);
            snprintf(buffer, sizeof(buffer), "Ln %8.3f", (double)gnssData.position.longitude);
            cfb_draw_text(DEVICE_DT_GET(DT_ALIAS(display)), buffer, 5, 37);
            break;
    }
}

void renderAltitudePage(struct page *page) {
    char buffer[32];

    switch (page->state) {
        case 0:
            snprintf(buffer, sizeof(buffer), "%6d m", altimeterData.altitude);
            cfb_draw_text(DEVICE_DT_GET(DT_ALIAS(display)), buffer, 10, 30);
            break;
        case 1:
            snprintf(buffer, sizeof(buffer), "GNSS");
            cfb_draw_text(DEVICE_DT_GET(DT_ALIAS(display)), buffer, 25, 17);
            snprintf(buffer, sizeof(buffer), "%6d m", gnssData.altitude);
            cfb_draw_text(DEVICE_DT_GET(DT_ALIAS(display)), buffer, 10, 30);
            break;
        case 2:
            snprintf(buffer, sizeof(buffer), "Adjusted");
            cfb_draw_text(DEVICE_DT_GET(DT_ALIAS(display)), buffer, 25, 17);
            snprintf(buffer, sizeof(buffer), "%6d m", altimeterData.adjAltitude);
            cfb_draw_text(DEVICE_DT_GET(DT_ALIAS(display)), buffer, 10, 30);
            break;
    }
}

void renderEnvironmentPage(struct page *page) {
    char buffer[32];

    if (page->state) {
        snprintf(buffer, sizeof(buffer), "%7.2f K", (double)(altimeterData.environment.temperature + 273.15f));
        cfb_draw_text(DEVICE_DT_GET(DT_ALIAS(display)), buffer, 5, 17);
        snprintf(buffer, sizeof(buffer), "%7.2f kPa", (double)(altimeterData.environment.pressure / 1000.0f));
        cfb_draw_text(DEVICE_DT_GET(DT_ALIAS(display)), buffer, 5, 30);
        snprintf(buffer, sizeof(buffer), "           3");
        cfb_draw_text(DEVICE_DT_GET(DT_ALIAS(display)), buffer, 5, 38);
        snprintf(buffer, sizeof(buffer), "%7.2f g/m", (double)altimeterData.environment.absHumidity);
        cfb_draw_text(DEVICE_DT_GET(DT_ALIAS(display)), buffer, 5, 43);
    } else {
        snprintf(buffer, sizeof(buffer), "        o");
        cfb_draw_text(DEVICE_DT_GET(DT_ALIAS(display)), buffer, 5, 12);
        snprintf(buffer, sizeof(buffer), "%7.2f  C", (double)altimeterData.environment.temperature);
        cfb_draw_text(DEVICE_DT_GET(DT_ALIAS(display)), buffer, 5, 17);
        snprintf(buffer, sizeof(buffer), "%7.2f atm", (double)(altimeterData.environment.pressure / 101325.0f));
        cfb_draw_text(DEVICE_DT_GET(DT_ALIAS(display)), buffer, 5, 30);
        snprintf(buffer, sizeof(buffer), "%7.2f %%", (double)altimeterData.environment.humidity);
        cfb_draw_text(DEVICE_DT_GET(DT_ALIAS(display)), buffer, 5, 43);
    }
}

void renderDirectionPage(struct page *page) {
    char buffer[32];
    snprintf(buffer, sizeof(buffer), "     o");
    cfb_draw_text(DEVICE_DT_GET(DT_ALIAS(display)), buffer, 25, 18);
    snprintf(buffer, sizeof(buffer), "%5d", gnssData.heading);
    cfb_draw_text(DEVICE_DT_GET(DT_ALIAS(display)), buffer, 25, 23);
    snprintf(buffer, sizeof(buffer), "%5.2f m/s", (double)gnssData.speed);
    cfb_draw_text(DEVICE_DT_GET(DT_ALIAS(display)), buffer, 25, 37);
}

void renderGnssPage(struct page *page) {
    char buffer[32];
    snprintf(buffer, sizeof(buffer), "%s", gnssData.gnss.quality);
    cfb_draw_text(DEVICE_DT_GET(DT_ALIAS(display)), buffer, 5, 17);
    snprintf(buffer, sizeof(buffer), "%s", gnssData.gnss.fixStatus);
    cfb_draw_text(DEVICE_DT_GET(DT_ALIAS(display)), buffer, 5, 30);
    snprintf(buffer, sizeof(buffer), "Nr. sat: %d", gnssData.gnss.satellites);
    cfb_draw_text(DEVICE_DT_GET(DT_ALIAS(display)), buffer, 5, 43);
}
```
